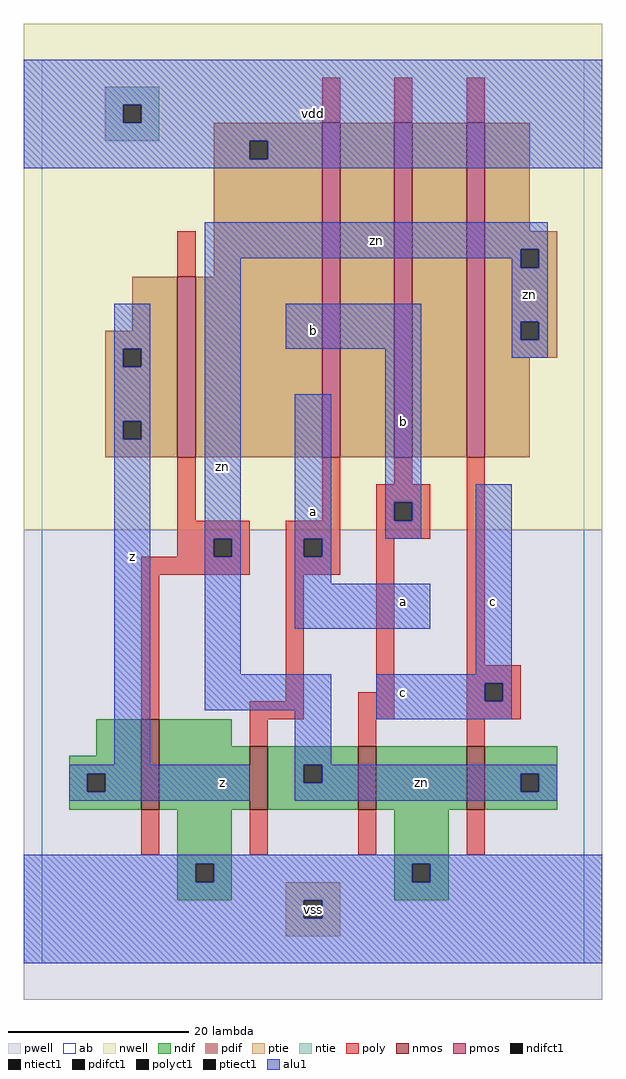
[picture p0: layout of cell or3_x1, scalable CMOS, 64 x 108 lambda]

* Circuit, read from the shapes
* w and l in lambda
.subckt or3_x1 a b c vdd vss z zn
M1 vss zn z vss nfet w=10 l=2
M2 zn a vss vss nfet w=7 l=2
M3 vss b zn vss nfet w=7 l=2
M4 zn c vss vss nfet w=7 l=2
M5 vdd zn z vdd pfet w=20 l=2
M6 n1 a vdd vdd pfet w=37 l=2
M7 n2 b n1 vdd pfet w=37 l=2
M8 zn c n2 vdd pfet w=37 l=2
.ends

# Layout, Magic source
magic
tech scmos
<< ab >>
rect 0 0 60 100
<< nwell >>
rect -2 48 62 104
<< pwell >>
rect -2 -4 62 48
<< poly >>
rect 31 93 33 98
rect 39 93 41 98
rect 47 93 49 98
rect 15 76 17 81
rect 15 49 17 56
rect 31 49 33 56
rect 39 53 41 56
rect 15 47 23 49
rect 15 45 19 47
rect 21 45 23 47
rect 11 43 23 45
rect 27 47 33 49
rect 27 45 29 47
rect 31 45 33 47
rect 27 43 33 45
rect 37 51 43 53
rect 37 49 39 51
rect 41 49 43 51
rect 37 47 43 49
rect 11 27 13 43
rect 27 29 29 43
rect 37 30 39 47
rect 23 27 29 29
rect 35 27 39 30
rect 47 33 49 56
rect 47 31 53 33
rect 47 29 49 31
rect 51 29 53 31
rect 47 27 53 29
rect 23 24 25 27
rect 35 24 37 27
rect 47 24 49 27
rect 11 12 13 17
rect 23 12 25 17
rect 35 12 37 17
rect 47 12 49 17
<< ndif >>
rect 6 23 11 27
rect 3 21 11 23
rect 3 19 5 21
rect 7 19 11 21
rect 3 17 11 19
rect 13 24 21 27
rect 13 17 23 24
rect 25 22 35 24
rect 25 20 29 22
rect 31 20 35 22
rect 25 17 35 20
rect 37 17 47 24
rect 49 21 57 24
rect 49 19 53 21
rect 55 19 57 21
rect 49 17 57 19
rect 15 11 21 17
rect 15 9 17 11
rect 19 9 21 11
rect 39 11 45 17
rect 39 9 41 11
rect 43 9 45 11
rect 15 7 21 9
rect 39 7 45 9
<< pdif >>
rect 19 91 31 93
rect 19 89 23 91
rect 25 89 31 91
rect 19 76 31 89
rect 10 70 15 76
rect 7 68 15 70
rect 7 66 9 68
rect 11 66 15 68
rect 7 60 15 66
rect 7 58 9 60
rect 11 58 15 60
rect 7 56 15 58
rect 17 56 31 76
rect 33 56 39 93
rect 41 56 47 93
rect 49 81 54 93
rect 49 79 57 81
rect 49 77 53 79
rect 55 77 57 79
rect 49 71 57 77
rect 49 69 53 71
rect 55 69 57 71
rect 49 67 57 69
rect 49 56 54 67
<< alu1 >>
rect -2 95 62 100
rect -2 93 9 95
rect 11 93 62 95
rect -2 91 62 93
rect -2 89 23 91
rect 25 89 62 91
rect -2 88 62 89
rect 18 79 56 82
rect 18 78 53 79
rect 8 68 12 73
rect 8 66 9 68
rect 11 66 12 68
rect 8 60 12 66
rect 8 58 9 60
rect 11 58 12 60
rect 8 22 12 58
rect 18 47 22 78
rect 52 77 53 78
rect 55 77 56 79
rect 27 68 42 73
rect 18 45 19 47
rect 21 45 22 47
rect 18 32 22 45
rect 28 47 32 63
rect 38 51 42 68
rect 52 71 56 77
rect 52 69 53 71
rect 55 69 56 71
rect 52 67 56 69
rect 38 49 39 51
rect 41 49 42 51
rect 38 47 42 49
rect 28 45 29 47
rect 31 45 32 47
rect 28 42 32 45
rect 28 37 43 42
rect 48 32 52 53
rect 18 28 32 32
rect 28 22 32 28
rect 37 31 52 32
rect 37 29 49 31
rect 51 29 52 31
rect 37 27 52 29
rect 3 21 23 22
rect 3 19 5 21
rect 7 19 23 21
rect 3 18 23 19
rect 28 20 29 22
rect 31 21 57 22
rect 31 20 53 21
rect 28 19 53 20
rect 55 19 57 21
rect 28 18 57 19
rect -2 11 62 12
rect -2 9 17 11
rect 19 9 41 11
rect 43 9 62 11
rect -2 7 62 9
rect -2 5 29 7
rect 31 5 62 7
rect -2 0 62 5
<< ptie >>
rect 27 7 33 9
rect 27 5 29 7
rect 31 5 33 7
rect 27 3 33 5
<< ntie >>
rect 7 95 13 97
rect 7 93 9 95
rect 11 93 13 95
rect 7 91 13 93
<< nmos >>
rect 11 17 13 27
rect 23 17 25 24
rect 35 17 37 24
rect 47 17 49 24
<< pmos >>
rect 15 56 17 76
rect 31 56 33 93
rect 39 56 41 93
rect 47 56 49 93
<< polyct1 >>
rect 19 45 21 47
rect 29 45 31 47
rect 39 49 41 51
rect 49 29 51 31
<< ndifct1 >>
rect 5 19 7 21
rect 29 20 31 22
rect 53 19 55 21
rect 17 9 19 11
rect 41 9 43 11
<< ntiect1 >>
rect 9 93 11 95
<< ptiect1 >>
rect 29 5 31 7
<< pdifct1 >>
rect 23 89 25 91
rect 9 66 11 68
rect 9 58 11 60
rect 53 77 55 79
rect 53 69 55 71
<< labels >>
rlabel alu1 10 45 10 45 6 z
rlabel alu1 20 20 20 20 6 z
rlabel alu1 20 55 20 55 6 zn
rlabel ptiect1 30 6 30 6 6 vss
rlabel alu1 40 40 40 40 6 a
rlabel alu1 40 30 40 30 6 c
rlabel alu1 30 50 30 50 6 a
rlabel alu1 30 70 30 70 6 b
rlabel alu1 40 60 40 60 6 b
rlabel alu1 30 94 30 94 6 vdd
rlabel alu1 42 20 42 20 6 zn
rlabel alu1 50 40 50 40 6 c
rlabel alu1 54 74 54 74 6 zn
rlabel alu1 37 80 37 80 6 zn
<< end >>
